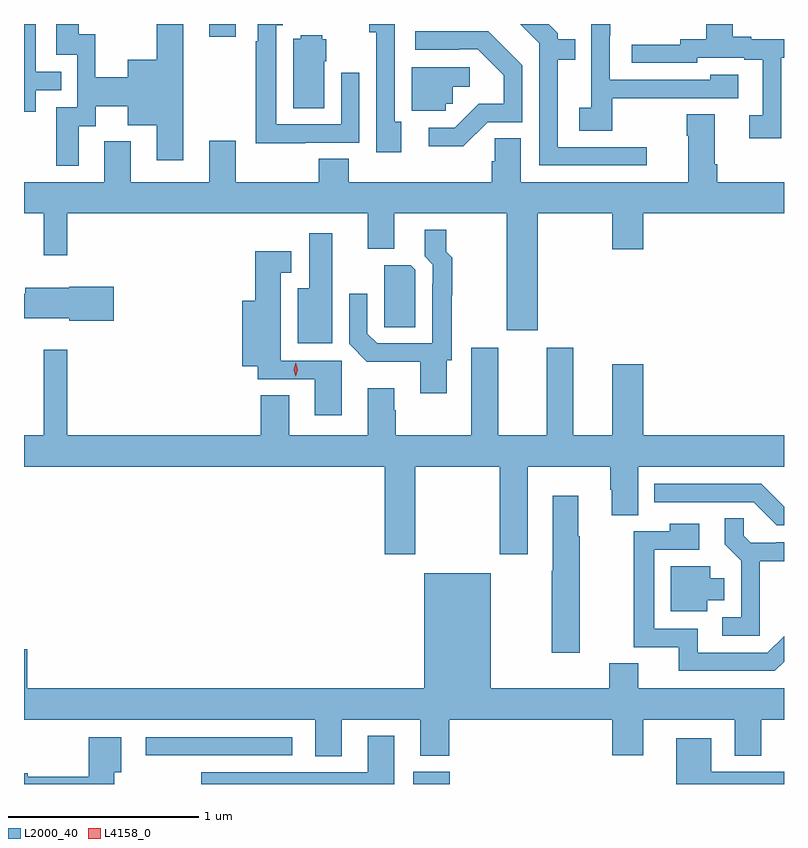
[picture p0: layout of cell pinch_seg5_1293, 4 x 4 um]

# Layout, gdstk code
import gdstk
lib = gdstk.Library(unit=1e-6, precision=1e-09)
def R(c, l, rs):  # rectangles x0, y0, x1, y1
    for r in rs: c.add(gdstk.rectangle(r[:2], r[2:], *l))
def P(c, l, *ps):  # polygons
    for p in ps: c.add(gdstk.Polygon(p, *l))
L2000_40 = (2000, 40)
L4158_0 = (4158, 0)

pinch_seg5_1293 = lib.new_cell('pinch_seg5_1293')
R(pinch_seg5_1293, L2000_40, [(307.817,893.717,308.008,893.782), (306.408,893.868,307.18,893.964), (306.743,897.651,306.883,897.717)])
P(pinch_seg5_1293, L2000_40, [(306.055,897.178),(306.145,897.178),(306.145,897.284),(306.314,897.284),(306.314,897.185),(306.467,897.185),(306.467,897),(306.607,897),(306.607,897.717),(306.467,897.717),(306.467,897.529),(306.314,897.529),(306.314,897.436),(306.144,897.436),(306.144,897.663),(306.055,897.663),(306.055,897.717),(305.939,897.717),(305.939,897.555),(306.048,897.555),(306.048,897.279),(305.939,897.279),(305.939,896.97),(306.055,896.97)],
  [(307.249,897.093),(307.533,897.093),(307.533,897.46),(307.437,897.46),(307.437,897.189),(307.095,897.189),(307.095,897.71),(307.129,897.71),(307.129,897.717),(306.999,897.717),(306.999,897.626),(306.987,897.626),(306.987,897.089),(307.249,897.089)],
  [(305.829,897.369),(305.963,897.369),(305.963,897.465),(305.829,897.465),(305.829,897.717),(305.768,897.717),(305.768,897.255),(305.829,897.255)],
  [(309.046,897.069),(308.578,897.069),(308.578,897.528),(308.669,897.528),(308.669,897.637),(308.577,897.637),(308.577,897.669),(308.529,897.717),(308.379,897.717),(308.481,897.615),(308.481,896.973),(309.046,896.973)],
  [(307.753,897.202),(307.719,897.202),(307.719,897.717),(307.586,897.717),(307.586,897.674),(307.623,897.674),(307.623,897.042),(307.753,897.042)],
  [(309.753,897.54),(309.768,897.54),(309.768,897.636),(309.595,897.636),(309.595,897.649),(309.499,897.649),(309.499,897.717),(309.359,897.717),(309.359,897.636),(309.222,897.636),(309.222,897.609),(308.967,897.609),(308.967,897.513),(309.312,897.513),(309.312,897.54),(309.56,897.54),(309.56,897.528),(309.656,897.528),(309.656,897.237),(309.585,897.237),(309.585,897.117),(309.753,897.117)],
  [(308.863,897.325),(309.167,897.325),(309.167,897.327),(309.526,897.327),(309.526,897.451),(309.381,897.451),(309.381,897.423),(308.85,897.423),(308.85,897.656),(308.853,897.656),(308.853,897.717),(308.754,897.717),(308.754,897.276),(308.691,897.276),(308.691,897.154),(308.863,897.154)],
  [(308.208,897.201),(308.391,897.201),(308.391,897.499),(308.212,897.678),(307.827,897.678),(307.827,897.582),(308.057,897.582),(308.057,897.585),(308.157,897.585),(308.294,897.448),(308.294,897.298),(308.161,897.298),(308.034,897.171),(307.899,897.171),(307.899,897.074),(308.08,897.074)],
  [(307.348,897.522),(307.36,897.522),(307.36,897.636),(307.338,897.636),(307.338,897.658),(307.224,897.658),(307.224,897.64),(307.184,897.64),(307.184,897.274),(307.348,897.274)],
  [(307.989,897.297),(308.025,897.297),(308.025,897.386),(308.113,897.386),(308.113,897.489),(307.808,897.489),(307.808,897.261),(307.989,897.261)],
  [(308.473,896.72),(308.864,896.72),(308.864,896.532),(309.028,896.532),(309.028,896.72),(309.768,896.72),(309.768,896.884),(309.416,896.884),(309.416,896.98),(309.403,896.98),(309.403,897.241),(309.256,897.241),(309.256,897.128),(309.263,897.128),(309.263,896.884),(308.383,896.884),(308.383,897.116),(308.245,897.116),(308.245,896.994),(308.231,896.994),(308.231,896.884),(307.478,896.884),(307.478,897.008),(307.318,897.008),(307.318,896.884),(306.883,896.884),(306.883,897.103),(306.743,897.103),(306.743,896.884),(306.331,896.884),(306.331,897.1),(306.191,897.1),(306.191,896.884),(305.768,896.884),(305.768,896.72),(305.873,896.72),(305.873,896.499),(305.995,896.499),(305.995,896.72),(307.577,896.72),(307.577,896.533),(307.717,896.533),(307.717,896.72),(308.309,896.72),(308.309,896.106),(308.473,896.106)],
  [(307.993,895.947),(308.018,895.947),(308.018,896.29),(308.021,896.29),(308.021,896.487),(307.99,896.518),(307.99,896.635),(307.877,896.635),(307.877,896.494),(307.92,896.451),(307.92,896.351),(307.917,896.351),(307.917,896.037),(307.626,896.037),(307.575,896.088),(307.575,896.296),(307.479,896.296),(307.479,896.034),(307.573,895.94),(307.853,895.94),(307.853,895.773),(307.993,895.773)],
  [(307.39,896.617),(307.268,896.617),(307.268,896.326),(307.208,896.326),(307.208,896.036),(307.39,896.036)],
  [(307.441,895.944),(307.12,895.944),(307.12,896.408),(307.174,896.408),(307.174,896.521),(306.986,896.521),(306.986,896.26),(306.917,896.26),(306.917,895.916),(306.998,895.916),(306.998,895.848),(307.298,895.848),(307.298,895.659),(307.441,895.659)],
  [(307.827,896.424),(307.803,896.448),(307.664,896.448),(307.664,896.233),(307.665,896.233),(307.665,896.122),(307.827,896.122)],
  [(306.241,896.334),(306.006,896.334),(306.006,896.329),(305.774,896.329),(305.774,896.297),(305.768,896.297),(305.768,896.168),(306.006,896.168),(306.006,896.156),(306.241,896.156)],
  [(307.827,895.388),(308.272,895.388),(308.272,894.927),(308.419,894.927),(308.419,895.388),(308.854,895.388),(308.854,895.266),(308.861,895.266),(308.861,895.132),(309.001,895.132),(309.001,895.388),(309.768,895.388),(309.768,895.552),(309.028,895.552),(309.028,895.927),(308.864,895.927),(308.864,895.552),(308.659,895.552),(308.659,896.014),(308.519,896.014),(308.519,895.552),(308.263,895.552),(308.263,896.014),(308.123,896.014),(308.123,895.552),(307.725,895.552),(307.725,895.685),(307.717,895.685),(307.717,895.801),(307.577,895.801),(307.577,895.552),(307.165,895.552),(307.165,895.763),(307.013,895.763),(307.013,895.552),(305.995,895.552),(305.995,896.002),(305.873,896.002),(305.873,895.552),(305.768,895.552),(305.768,895.388),(307.667,895.388),(307.667,894.927),(307.827,894.927)],
  [(309.768,895.176),(309.648,895.296),(309.086,895.296),(309.086,895.2),(309.609,895.2),(309.729,895.08),(309.768,895.08)],
  [(308.694,895.021),(308.686,895.021),(308.686,895.234),(308.552,895.234),(308.552,894.839),(308.545,894.839),(308.545,894.408),(308.694,894.408)],
  [(309.641,894.89),(309.768,894.89),(309.768,894.99),(309.726,894.99),(309.726,894.987),(309.592,894.987),(309.555,895.024),(309.555,895.115),(309.457,895.115),(309.457,894.979),(309.543,894.893),(309.543,894.594),(309.444,894.594),(309.444,894.498),(309.641,894.498)],
  [(309.768,894.36),(309.768,894.495),(309.681,894.408),(309.313,894.408),(309.313,894.534),(309.084,894.534),(309.084,894.951),(309.322,894.951),(309.322,895.087),(309.166,895.087),(309.166,895.047),(308.976,895.047),(308.976,894.438),(309.215,894.438),(309.215,894.312),(309.72,894.312)],
  [(309.364,894.683),(309.454,894.683),(309.454,894.799),(309.379,894.799),(309.379,894.862),(309.173,894.862),(309.173,894.626),(309.364,894.626)],
  [(307.441,894.056),(307.853,894.056),(307.853,893.867),(308.006,893.867),(308.006,894.056),(308.864,894.056),(308.864,893.868),(309.028,893.868),(309.028,894.056),(309.509,894.056),(309.509,893.866),(309.649,893.866),(309.649,894.056),(309.768,894.056),(309.768,894.22),(309.001,894.22),(309.001,894.353),(308.849,894.353),(308.849,894.22),(308.224,894.22),(308.224,894.826),(307.874,894.826),(307.874,894.22),(305.786,894.22),(305.786,894.427),(305.768,894.427),(305.768,894.056),(307.301,894.056),(307.301,893.863),(307.441,893.863)],
  [(307.717,893.971),(307.577,893.971),(307.577,893.778),(306.702,893.778),(306.702,893.717),(307.717,893.717)],
  [(306.244,893.78),(306.28,893.78),(306.28,893.962),(306.11,893.962),(306.11,893.755),(305.788,893.755),(305.788,893.773),(305.768,893.773),(305.768,893.717),(306.244,893.717)],
  [(309.768,893.781),(309.385,893.781),(309.385,893.959),(309.2,893.959),(309.2,893.717),(309.768,893.717)])
P(pinch_seg5_1293, L4158_0, [(307.199,895.862),(307.199,895.862),(307.189,895.897),(307.199,895.933),(307.199,895.933),(307.199,895.933),(307.209,895.897),(307.199,895.862)])

lib.write_gds('pinch_seg5_1293.gds')
